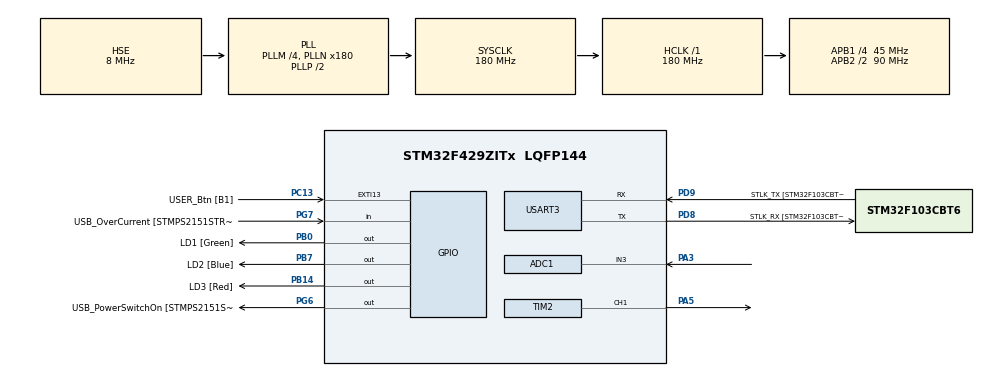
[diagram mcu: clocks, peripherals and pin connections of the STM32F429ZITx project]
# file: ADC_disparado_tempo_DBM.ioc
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ADC1.Channel-1\#ChannelRegularConversion=ADC_CHANNEL_3
ADC1.ClockPrescaler=ADC_CLOCK_SYNC_PCLK_DIV4
ADC1.ContinuousConvMode=DISABLE
ADC1.DMAContinuousRequests=DISABLE
ADC1.EnableAnalogWatchDog=false
ADC1.ExternalTrigConv=ADC_EXTERNALTRIGCONV_T3_TRGO
ADC1.InjNumberOfConversion=0
ADC1.NbrOfConversion=1
ADC1.NbrOfConversionFlag=1
ADC1.Rank-1\#ChannelRegularConversion=1
ADC1.SamplingTime-1\#ChannelRegularConversion=ADC_SAMPLETIME_3CYCLES
ADC1.master=1
Dma.ADC1.0.Direction=DMA_PERIPH_TO_MEMORY
Dma.ADC1.0.FIFOMode=DMA_FIFOMODE_DISABLE
Dma.ADC1.0.Instance=DMA2_Stream0
Dma.ADC1.0.MemDataAlignment=DMA_MDATAALIGN_HALFWORD
Dma.ADC1.0.MemInc=DMA_MINC_ENABLE
Dma.ADC1.0.Mode=DMA_CIRCULAR
Dma.ADC1.0.PeriphDataAlignment=DMA_PDATAALIGN_HALFWORD
Dma.ADC1.0.PeriphInc=DMA_PINC_DISABLE
Dma.ADC1.0.Priority=DMA_PRIORITY_LOW
Dma.Request0=ADC1
Mcu.Family=STM32F4
Mcu.Name=STM32F429ZITx
Mcu.Package=LQFP144
NVIC.ADC_IRQn=true\:0\:0\:false\:false\:true\:true\:true\:true
NVIC.DMA2_Stream0_IRQn=true\:0\:0\:false\:false\:true\:false\:true\:true
NVIC.PriorityGroup=NVIC_PRIORITYGROUP_4
PA1.GPIO_Label=RMII_REF_CLK [LAN8742A-CZ-TR_REFCLK0]
PA1.Signal=ETH_REF_CLK
PA10.GPIO_Label=USB_ID
PA10.Signal=USB_OTG_FS_ID
PA11.GPIO_Label=USB_DM
PA11.Signal=USB_OTG_FS_DM
PA12.GPIO_Label=USB_DP
PA12.Signal=USB_OTG_FS_DP
PA13.GPIO_Label=TMS
PA13.Mode=Serial_Wire
PA13.Signal=SYS_JTMS-SWDIO
PA14.GPIO_Label=TCK
PA14.Mode=Serial_Wire
PA14.Signal=SYS_JTCK-SWCLK
PA2.GPIO_Label=RMII_MDIO [LAN8742A-CZ-TR_MDIO]
PA2.Signal=ETH_MDIO
PA3.Signal=ADCx_IN3
PA5.Signal=S_TIM2_CH1_ETR
PA7.GPIO_Label=RMII_CRS_DV [LAN8742A-CZ-TR_CRS_DV]
PA7.Signal=ETH_CRS_DV
PA8.GPIO_Label=USB_SOF [TP1]
PA8.Signal=USB_OTG_FS_SOF
PA9.GPIO_Label=USB_VBUS
PA9.Signal=USB_OTG_FS_VBUS
PB0.GPIO_Label=LD1 [Green]
PB0.Signal=GPIO_Output
PB13.GPIO_Label=RMII_TXD1 [LAN8742A-CZ-TR_TXD1]
PB13.Signal=ETH_TXD1
PB14.GPIO_Label=LD3 [Red]
PB14.Signal=GPIO_Output
PB7.GPIO_Label=LD2 [Blue]
PB7.Signal=GPIO_Output
PC1.GPIO_Label=RMII_MDC [LAN8742A-CZ-TR_MDC]
PC1.Signal=ETH_MDC
PC13.GPIO_Label=USER_Btn [B1]
PC13.Signal=GPXTI13
PC14/OSC32_IN.Mode=LSE-External-Oscillator
PC14/OSC32_IN.Signal=RCC_OSC32_IN
PC15/OSC32_OUT.Mode=LSE-External-Oscillator
PC15/OSC32_OUT.Signal=RCC_OSC32_OUT
PC4.GPIO_Label=RMII_RXD0 [LAN8742A-CZ-TR_RXD0]
PC4.Signal=ETH_RXD0
PC5.GPIO_Label=RMII_RXD1 [LAN8742A-CZ-TR_RXD1]
PC5.Signal=ETH_RXD1
PD8.GPIO_Label=STLK_RX [STM32F103CBT6_PA3]
PD8.Mode=Asynchronous
PD8.Signal=USART3_TX
PD9.GPIO_Label=STLK_TX [STM32F103CBT6_PA2]
PD9.Mode=Asynchronous
PD9.Signal=USART3_RX
PG11.GPIO_Label=RMII_TX_EN [LAN8742A-CZ-TR_TXEN]
PG11.Signal=ETH_TX_EN
PG13.GPIO_Label=RMII_TXD0 [LAN8742A-CZ-TR_TXD0]
PG13.Signal=ETH_TXD0
PG6.GPIO_Label=USB_PowerSwitchOn [STMPS2151STR_EN]
PG6.Signal=GPIO_Output
PG7.GPIO_Label=USB_OverCurrent [STMPS2151STR_FAULT]
PG7.Signal=GPIO_Input
PH0/OSC_IN.GPIO_Label=MCO [STM32F103CBT6_PA8]
PH0/OSC_IN.Mode=HSE-External-Oscillator
PH0/OSC_IN.Signal=RCC_OSC_IN
PH1/OSC_OUT.Mode=HSE-External-Oscillator
PH1/OSC_OUT.Signal=RCC_OSC_OUT
ProjectManager.HeapSize=0x200
ProjectManager.StackSize=0x400
ProjectManager.TargetToolchain=STM32CubeIDE
RCC.48MHZClocksFreq_Value=51428571.428571425
RCC.AHBFreq_Value=180000000
RCC.APB1CLKDivider=RCC_HCLK_DIV4
RCC.APB1Freq_Value=45000000
RCC.APB1TimFreq_Value=90000000
RCC.APB2CLKDivider=RCC_HCLK_DIV2
RCC.APB2Freq_Value=90000000
RCC.APB2TimCLKDivider=2
RCC.APB2TimFreq_Value=180000000
RCC.CortexFreq_Value=180000000
RCC.HCLKFreq_Value=180000000
RCC.HSE_VALUE=8000000
RCC.HSI_VALUE=16000000
RCC.PLLM=4
RCC.PLLMUL=RCC_PLL_MUL9
RCC.PLLN=180
RCC.PLLQ=7
RCC.PLLSourceVirtual=RCC_PLLSOURCE_HSE
RCC.PRESCALERUSB=RCC_USBCLKSOURCE_PLL_DIV1_5
RCC.SYSCLKFreq_VALUE=180000000
RCC.SYSCLKSource=RCC_SYSCLKSOURCE_PLLCLK
RCC.SYSCLKSourceVirtual=RCC_SYSCLKSOURCE_PLLCLK
RCC.USBFreq_Value=48000000
RCC.VCOOutputFreq_Value=360000000
SH.ADCx_IN3.0=ADC1_IN3,IN3
SH.S_TIM2_CH1_ETR.0=TIM2_CH1,PWM Generation1 CH1
TIM2.AutoReloadPreload=TIM_AUTORELOAD_PRELOAD_ENABLE
TIM2.Channel-PWM\ Generation1\ CH1=TIM_CHANNEL_1
TIM2.Period=65535
TIM2.Prescaler=1
TIM3.AutoReloadPreload=TIM_AUTORELOAD_PRELOAD_ENABLE
TIM3.Period=49999
TIM3.Prescaler=17
TIM3.TIM_MasterOutputTrigger=TIM_TRGO_UPDATE
USART3.VirtualMode=VM_ASYNC
VP_TIM2_VS_ClockSourceINT.Mode=Internal
VP_TIM3_VS_ClockSourceINT.Mode=Internal
board=NUCLEO-F429ZI

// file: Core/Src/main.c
/* USER CODE BEGIN Header */
/**
  ******************************************************************************
  * @file           : main.c
  * @brief          : Ejemplo de ADC continuo solicitado por encuesta
  *                   (No veo diferencia entre continuo y único)
  ******************************************************************************
  *
  * El ejemplo se desarrolló en base a:
  * https://deepbluembedded.com/stm32-adc-read-example-dma-interrupt-polling/
  *
  ******************************************************************************
  */
/* USER CODE END Header */
#include "main.h"

/* USER CODE BEGIN Includes */
#include "uOSAL.h"

/* USER CODE END Includes */

/* USER CODE BEGIN PM */
#define DELTA    1000
#define MUESTRAS 100

/* USER CODE END PM */

ADC_HandleTypeDef hadc1;
DMA_HandleTypeDef hdma_adc1;

TIM_HandleTypeDef htim2;
TIM_HandleTypeDef htim3;

UART_HandleTypeDef huart3;

/* USER CODE BEGIN PV */
uint16_t AD_RES = 0; //[MUESTRAS] = {0};

/* USER CODE END PV */

void SystemClock_Config(void);
static void MX_GPIO_Init(void);
static void MX_DMA_Init(void);
static void MX_USART3_UART_Init(void);
static void MX_ADC1_Init(void);
static void MX_TIM2_Init(void);
static void MX_TIM3_Init(void);

int main(void)
{

  /* MCU Configuration--------------------------------------------------------*/

  /* Reset of all peripherals, Initializes the Flash interface and the Systick. */
  HAL_Init();

  /* Configure the system clock */
  SystemClock_Config();

  /* Initialize all configured peripherals */
  MX_GPIO_Init();
  MX_DMA_Init();
  MX_USART3_UART_Init();
  MX_ADC1_Init();
  MX_TIM2_Init();
  MX_TIM3_Init();
  /* USER CODE BEGIN 2 */
  //-----------------------------------------------------------------------------------------------
  uint32_t Tiempo_ms = uOSALmiliseg ();
  uartInit();

  GPIO_InitTypeDef  GPIO_InitStruct;
  GPIO_InitStruct.Pin = GPIO_PIN_0;
  GPIO_InitStruct.Mode = GPIO_MODE_OUTPUT_PP;
  GPIO_InitStruct.Pull = GPIO_NOPULL;
  GPIO_InitStruct.Speed = GPIO_SPEED_FAST;
  HAL_GPIO_Init(GPIOA, &GPIO_InitStruct);

  uEscribirTexto ("\n\r-----------------------------------------------------------------------------");
  uEscribirTexto ("\n\rADC disparado por trigger (marzo 2024)");
  uEscribirTexto ("\n\r-----------------------------------------------------------------------------");

  HAL_TIM_PWM_Start(&htim2, TIM_CHANNEL_1);
  HAL_TIM_Base_Start(&htim3); // Start Timer3 (Trigger Source For ADC1)
  HAL_ADC_Start_IT(&hadc1);   // Start ADC Conversion
  //HAL_ADC_Start_DMA(&hadc1, (uint32_t *) AD_RES, MUESTRAS);  // Inicia la conversión continua del ADC

  //-----------------------------------------------------------------------------------------------
  /* USER CODE END 2 */

  /* Infinite loop */
  while (1)
  {

    /* USER CODE BEGIN 3 */
	//---------------------------------------------------------------------------------------------
	TIM2->CCR1 = (AD_RES<<4); // Update The PWM Duty Cycle With Latest ADC Conversion Result

	// Evalúo si envío a UART
	if ( uOSALmiliseg()-Tiempo_ms > DELTA ) {
		Tiempo_ms += DELTA;
		uEscribirTextoEnteroSS ("\n\rLectura: ", AD_RES);

		/*int j=0;
		for (int i=0; i<MUESTRAS; i++) {
			if (j>=10) {
				uEscribirTexto ("\n\r");
				j=0;
			}
			uEscribirEnteroSS ( AD_RES[i] & 0xFFFF );
			uEscribirTexto ("; ");
			j++;
		}*/
		//uEscribirTexto ("\n\r");
	}

  }
  //-----------------------------------------------------------------------------------------------
  /* USER CODE END 3 */
}

void SystemClock_Config(void)
{
  RCC_OscInitTypeDef RCC_OscInitStruct = {0};
  RCC_ClkInitTypeDef RCC_ClkInitStruct = {0};

  /** Configure the main internal regulator output voltage
  */
  __HAL_RCC_PWR_CLK_ENABLE();
  __HAL_PWR_VOLTAGESCALING_CONFIG(PWR_REGULATOR_VOLTAGE_SCALE1);

  /** Initializes the RCC Oscillators according to the specified parameters
  * in the RCC_OscInitTypeDef structure.
  */
  RCC_OscInitStruct.OscillatorType = RCC_OSCILLATORTYPE_HSE;
  RCC_OscInitStruct.HSEState = RCC_HSE_ON;
  RCC_OscInitStruct.PLL.PLLState = RCC_PLL_ON;
  RCC_OscInitStruct.PLL.PLLSource = RCC_PLLSOURCE_HSE;
  RCC_OscInitStruct.PLL.PLLM = 4;
  RCC_OscInitStruct.PLL.PLLN = 180;
  RCC_OscInitStruct.PLL.PLLP = RCC_PLLP_DIV2;
  RCC_OscInitStruct.PLL.PLLQ = 7;
  if (HAL_RCC_OscConfig(&RCC_OscInitStruct) != HAL_OK)
  {
    Error_Handler();
  }

  /** Activate the Over-Drive mode
  */
  if (HAL_PWREx_EnableOverDrive() != HAL_OK)
  {
    Error_Handler();
  }

  /** Initializes the CPU, AHB and APB buses clocks
  */
  RCC_ClkInitStruct.ClockType = RCC_CLOCKTYPE_HCLK|RCC_CLOCKTYPE_SYSCLK
                              |RCC_CLOCKTYPE_PCLK1|RCC_CLOCKTYPE_PCLK2;
  RCC_ClkInitStruct.SYSCLKSource = RCC_SYSCLKSOURCE_PLLCLK;
  RCC_ClkInitStruct.AHBCLKDivider = RCC_SYSCLK_DIV1;
  RCC_ClkInitStruct.APB1CLKDivider = RCC_HCLK_DIV4;
  RCC_ClkInitStruct.APB2CLKDivider = RCC_HCLK_DIV2;

  if (HAL_RCC_ClockConfig(&RCC_ClkInitStruct, FLASH_LATENCY_5) != HAL_OK)
  {
    Error_Handler();
  }
}

static void MX_ADC1_Init(void)
{

  ADC_ChannelConfTypeDef sConfig = {0};

  /** Configure the global features of the ADC (Clock, Resolution, Data Alignment and number of conversion)
  */
  hadc1.Instance = ADC1;
  hadc1.Init.ClockPrescaler = ADC_CLOCK_SYNC_PCLK_DIV4;
  hadc1.Init.Resolution = ADC_RESOLUTION_12B;
  hadc1.Init.ScanConvMode = DISABLE;
  hadc1.Init.ContinuousConvMode = DISABLE;
  hadc1.Init.DiscontinuousConvMode = DISABLE;
  hadc1.Init.ExternalTrigConvEdge = ADC_EXTERNALTRIGCONVEDGE_RISING;
  hadc1.Init.ExternalTrigConv = ADC_EXTERNALTRIGCONV_T3_TRGO;
  hadc1.Init.DataAlign = ADC_DATAALIGN_RIGHT;
  hadc1.Init.NbrOfConversion = 1;
  hadc1.Init.DMAContinuousRequests = DISABLE;
  hadc1.Init.EOCSelection = ADC_EOC_SINGLE_CONV;
  if (HAL_ADC_Init(&hadc1) != HAL_OK)
  {
    Error_Handler();
  }

  /** Configure for the selected ADC regular channel its corresponding rank in the sequencer and its sample time.
  */
  sConfig.Channel = ADC_CHANNEL_3;
  sConfig.Rank = 1;
  sConfig.SamplingTime = ADC_SAMPLETIME_3CYCLES;
  if (HAL_ADC_ConfigChannel(&hadc1, &sConfig) != HAL_OK)
  {
    Error_Handler();
  }

}

static void MX_TIM2_Init(void)
{

  TIM_ClockConfigTypeDef sClockSourceConfig = {0};
  TIM_MasterConfigTypeDef sMasterConfig = {0};
  TIM_OC_InitTypeDef sConfigOC = {0};

  htim2.Instance = TIM2;
  htim2.Init.Prescaler = 1;
  htim2.Init.CounterMode = TIM_COUNTERMODE_UP;
  htim2.Init.Period = 65535;
  htim2.Init.ClockDivision = TIM_CLOCKDIVISION_DIV1;
  htim2.Init.AutoReloadPreload = TIM_AUTORELOAD_PRELOAD_ENABLE;
  if (HAL_TIM_Base_Init(&htim2) != HAL_OK)
  {
    Error_Handler();
  }
  sClockSourceConfig.ClockSource = TIM_CLOCKSOURCE_INTERNAL;
  if (HAL_TIM_ConfigClockSource(&htim2, &sClockSourceConfig) != HAL_OK)
  {
    Error_Handler();
  }
  if (HAL_TIM_PWM_Init(&htim2) != HAL_OK)
  {
    Error_Handler();
  }
  sMasterConfig.MasterOutputTrigger = TIM_TRGO_RESET;
  sMasterConfig.MasterSlaveMode = TIM_MASTERSLAVEMODE_DISABLE;
  if (HAL_TIMEx_MasterConfigSynchronization(&htim2, &sMasterConfig) != HAL_OK)
  {
    Error_Handler();
  }
  sConfigOC.OCMode = TIM_OCMODE_PWM1;
  sConfigOC.Pulse = 0;
  sConfigOC.OCPolarity = TIM_OCPOLARITY_HIGH;
  sConfigOC.OCFastMode = TIM_OCFAST_DISABLE;
  if (HAL_TIM_PWM_ConfigChannel(&htim2, &sConfigOC, TIM_CHANNEL_1) != HAL_OK)
  {
    Error_Handler();
  }
  HAL_TIM_MspPostInit(&htim2);

}

static void MX_TIM3_Init(void)
{

  TIM_ClockConfigTypeDef sClockSourceConfig = {0};
  TIM_MasterConfigTypeDef sMasterConfig = {0};

  htim3.Instance = TIM3;
  htim3.Init.Prescaler = 17;
  htim3.Init.CounterMode = TIM_COUNTERMODE_UP;
  htim3.Init.Period = 49999;
  htim3.Init.ClockDivision = TIM_CLOCKDIVISION_DIV1;
  htim3.Init.AutoReloadPreload = TIM_AUTORELOAD_PRELOAD_ENABLE;
  if (HAL_TIM_Base_Init(&htim3) != HAL_OK)
  {
    Error_Handler();
  }
  sClockSourceConfig.ClockSource = TIM_CLOCKSOURCE_INTERNAL;
  if (HAL_TIM_ConfigClockSource(&htim3, &sClockSourceConfig) != HAL_OK)
  {
    Error_Handler();
  }
  sMasterConfig.MasterOutputTrigger = TIM_TRGO_UPDATE;
  sMasterConfig.MasterSlaveMode = TIM_MASTERSLAVEMODE_DISABLE;
  if (HAL_TIMEx_MasterConfigSynchronization(&htim3, &sMasterConfig) != HAL_OK)
  {
    Error_Handler();
  }

}

static void MX_USART3_UART_Init(void)
{

  huart3.Instance = USART3;
  huart3.Init.BaudRate = 115200;
  huart3.Init.WordLength = UART_WORDLENGTH_8B;
  huart3.Init.StopBits = UART_STOPBITS_1;
  huart3.Init.Parity = UART_PARITY_NONE;
  huart3.Init.Mode = UART_MODE_TX_RX;
  huart3.Init.HwFlowCtl = UART_HWCONTROL_NONE;
  huart3.Init.OverSampling = UART_OVERSAMPLING_16;
  if (HAL_UART_Init(&huart3) != HAL_OK)
  {
    Error_Handler();
  }

}

static void MX_DMA_Init(void)
{

  /* DMA controller clock enable */
  __HAL_RCC_DMA2_CLK_ENABLE();

  /* DMA interrupt init */
  /* DMA2_Stream0_IRQn interrupt configuration */
  HAL_NVIC_SetPriority(DMA2_Stream0_IRQn, 0, 0);
  HAL_NVIC_EnableIRQ(DMA2_Stream0_IRQn);

}

static void MX_GPIO_Init(void)
{
  GPIO_InitTypeDef GPIO_InitStruct = {0};

  /* GPIO Ports Clock Enable */
  __HAL_RCC_GPIOC_CLK_ENABLE();
  __HAL_RCC_GPIOH_CLK_ENABLE();
  __HAL_RCC_GPIOA_CLK_ENABLE();
  __HAL_RCC_GPIOB_CLK_ENABLE();
  __HAL_RCC_GPIOD_CLK_ENABLE();
  __HAL_RCC_GPIOG_CLK_ENABLE();

  /*Configure GPIO pin Output Level */
  HAL_GPIO_WritePin(GPIOB, LD1_Pin|LD3_Pin|LD2_Pin, GPIO_PIN_RESET);

  /*Configure GPIO pin Output Level */
  HAL_GPIO_WritePin(USB_PowerSwitchOn_GPIO_Port, USB_PowerSwitchOn_Pin, GPIO_PIN_RESET);

  /*Configure GPIO pin : USER_Btn_Pin */
  GPIO_InitStruct.Pin = USER_Btn_Pin;
  GPIO_InitStruct.Mode = GPIO_MODE_IT_RISING;
  GPIO_InitStruct.Pull = GPIO_NOPULL;
  HAL_GPIO_Init(USER_Btn_GPIO_Port, &GPIO_InitStruct);

  /*Configure GPIO pins : RMII_MDC_Pin RMII_RXD0_Pin RMII_RXD1_Pin */
  GPIO_InitStruct.Pin = RMII_MDC_Pin|RMII_RXD0_Pin|RMII_RXD1_Pin;
  GPIO_InitStruct.Mode = GPIO_MODE_AF_PP;
  GPIO_InitStruct.Pull = GPIO_NOPULL;
  GPIO_InitStruct.Speed = GPIO_SPEED_FREQ_VERY_HIGH;
  GPIO_InitStruct.Alternate = GPIO_AF11_ETH;
  HAL_GPIO_Init(GPIOC, &GPIO_InitStruct);

  /*Configure GPIO pins : RMII_REF_CLK_Pin RMII_MDIO_Pin RMII_CRS_DV_Pin */
  GPIO_InitStruct.Pin = RMII_REF_CLK_Pin|RMII_MDIO_Pin|RMII_CRS_DV_Pin;
  GPIO_InitStruct.Mode = GPIO_MODE_AF_PP;
  GPIO_InitStruct.Pull = GPIO_NOPULL;
  GPIO_InitStruct.Speed = GPIO_SPEED_FREQ_VERY_HIGH;
  GPIO_InitStruct.Alternate = GPIO_AF11_ETH;
  HAL_GPIO_Init(GPIOA, &GPIO_InitStruct);

  /*Configure GPIO pins : LD1_Pin LD3_Pin LD2_Pin */
  GPIO_InitStruct.Pin = LD1_Pin|LD3_Pin|LD2_Pin;
  GPIO_InitStruct.Mode = GPIO_MODE_OUTPUT_PP;
  GPIO_InitStruct.Pull = GPIO_NOPULL;
  GPIO_InitStruct.Speed = GPIO_SPEED_FREQ_LOW;
  HAL_GPIO_Init(GPIOB, &GPIO_InitStruct);

  /*Configure GPIO pin : RMII_TXD1_Pin */
  GPIO_InitStruct.Pin = RMII_TXD1_Pin;
  GPIO_InitStruct.Mode = GPIO_MODE_AF_PP;
  GPIO_InitStruct.Pull = GPIO_NOPULL;
  GPIO_InitStruct.Speed = GPIO_SPEED_FREQ_VERY_HIGH;
  GPIO_InitStruct.Alternate = GPIO_AF11_ETH;
  HAL_GPIO_Init(RMII_TXD1_GPIO_Port, &GPIO_InitStruct);

  /*Configure GPIO pin : USB_PowerSwitchOn_Pin */
  GPIO_InitStruct.Pin = USB_PowerSwitchOn_Pin;
  GPIO_InitStruct.Mode = GPIO_MODE_OUTPUT_PP;
  GPIO_InitStruct.Pull = GPIO_NOPULL;
  GPIO_InitStruct.Speed = GPIO_SPEED_FREQ_LOW;
  HAL_GPIO_Init(USB_PowerSwitchOn_GPIO_Port, &GPIO_InitStruct);

  /*Configure GPIO pin : USB_OverCurrent_Pin */
  GPIO_InitStruct.Pin = USB_OverCurrent_Pin;
  GPIO_InitStruct.Mode = GPIO_MODE_INPUT;
  GPIO_InitStruct.Pull = GPIO_NOPULL;
  HAL_GPIO_Init(USB_OverCurrent_GPIO_Port, &GPIO_InitStruct);

  /*Configure GPIO pins : USB_SOF_Pin USB_ID_Pin USB_DM_Pin USB_DP_Pin */
  GPIO_InitStruct.Pin = USB_SOF_Pin|USB_ID_Pin|USB_DM_Pin|USB_DP_Pin;
  GPIO_InitStruct.Mode = GPIO_MODE_AF_PP;
  GPIO_InitStruct.Pull = GPIO_NOPULL;
  GPIO_InitStruct.Speed = GPIO_SPEED_FREQ_VERY_HIGH;
  GPIO_InitStruct.Alternate = GPIO_AF10_OTG_FS;
  HAL_GPIO_Init(GPIOA, &GPIO_InitStruct);

  /*Configure GPIO pin : USB_VBUS_Pin */
  GPIO_InitStruct.Pin = USB_VBUS_Pin;
  GPIO_InitStruct.Mode = GPIO_MODE_INPUT;
  GPIO_InitStruct.Pull = GPIO_NOPULL;
  HAL_GPIO_Init(USB_VBUS_GPIO_Port, &GPIO_InitStruct);

  /*Configure GPIO pins : RMII_TX_EN_Pin RMII_TXD0_Pin */
  GPIO_InitStruct.Pin = RMII_TX_EN_Pin|RMII_TXD0_Pin;
  GPIO_InitStruct.Mode = GPIO_MODE_AF_PP;
  GPIO_InitStruct.Pull = GPIO_NOPULL;
  GPIO_InitStruct.Speed = GPIO_SPEED_FREQ_VERY_HIGH;
  GPIO_InitStruct.Alternate = GPIO_AF11_ETH;
  HAL_GPIO_Init(GPIOG, &GPIO_InitStruct);

}

/* USER CODE BEGIN 4 */

void HAL_ADC_ConvCpltCallback(ADC_HandleTypeDef* hadc)
{
	HAL_GPIO_TogglePin(GPIOA, GPIO_PIN_0);
	AD_RES = HAL_ADC_GetValue(&hadc1);
	// for (int i=0; i< 0x6FF; i++) { 		}
	//TIM2->CCR1 = ( (AD_RES[0] & 0xFFFF) <<4 );
	//HAL_GPIO_WritePin(GPIOA, GPIO_PIN_0, GPIO_PIN_RESET);

}

/* USER CODE END 4 */

void Error_Handler(void)
{
  __disable_irq();
  while (1)
  {
  }
}
